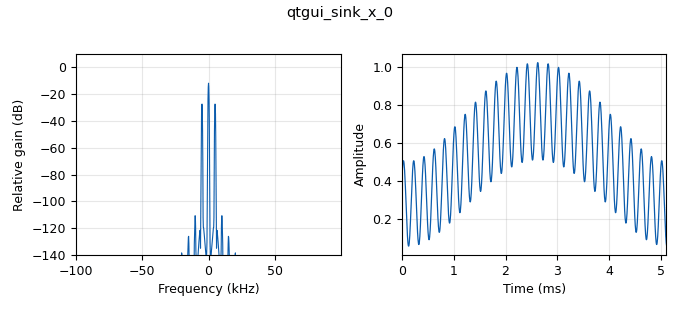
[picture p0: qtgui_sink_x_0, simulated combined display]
options:
  parameters:
    generate_options: qt_gui
    id: ECSE351ProblemSet
    output_language: python
    title: Thresholding Demonstration
  states: {}

blocks:
- name: AM_amp
  id: variable
  parameters:
    value: '1'
  states: {}
- name: f_carrier
  id: variable_qtgui_range
  parameters:
    start: '5000'
    step: '.1'
    stop: '15000'
    value: '10000'
  states: {}
- name: f_mod
  id: variable_qtgui_range
  parameters:
    start: '2500'
    step: '250'
    stop: '10000'
    value: '5000'
  states: {}
- name: mod_index
  id: variable_qtgui_range
  parameters:
    start: '0'
    step: '.1'
    stop: '1'
    value: '.5'
  states: {}
- name: relative_scale
  id: variable_qtgui_range
  parameters:
    start: '1'
    step: '10000'
    stop: '100000'
    value: '1'
    widget: eng_slider
  states: {}
- name: samp_rate
  id: variable
  parameters:
    value: '200000'
  states: {}
- name: analog_am_demod_cf_0
  id: analog_am_demod_cf
  parameters:
    audio_decim: '1'
    audio_pass: '5000'
    audio_stop: '5500'
    chan_rate: samp_rate
  states: {}
- name: analog_const_source_x_0
  id: analog_const_source_x
  parameters:
    const: mod_index
    type: complex
  states: {}
- name: analog_const_source_x_0_0
  id: analog_const_source_x
  parameters:
    const: mod_index
    type: complex
  states: {}
- name: analog_const_source_x_1
  id: analog_const_source_x
  parameters:
    const: '1.0'
    type: complex
  states: {}
- name: analog_const_source_x_1_0
  id: analog_const_source_x
  parameters:
    const: '1.0'
    type: complex
  states: {}
- name: analog_const_source_x_3_0
  id: analog_const_source_x
  parameters:
    const: relative_scale
    type: complex
  states: {}
- name: analog_sig_source_x_0
  id: analog_sig_source_x
  parameters:
    amp: '1'
    freq: f_mod
    offset: '0'
    phase: '0'
    samp_rate: samp_rate
    type: complex
    waveform: analog.GR_COS_WAVE
  states: {}
- name: analog_sig_source_x_0_0
  id: analog_sig_source_x
  parameters:
    amp: '1'
    freq: '200'
    offset: '0'
    phase: '0'
    samp_rate: samp_rate
    type: complex
    waveform: analog.GR_COS_WAVE
  states: {}
- name: analog_sig_source_x_1
  id: analog_sig_source_x
  parameters:
    amp: '1'
    freq: f_carrier
    offset: '0'
    phase: '0'
    samp_rate: samp_rate
    type: complex
    waveform: analog.GR_COS_WAVE
  states: {}
- name: analog_sig_source_x_1_0
  id: analog_sig_source_x
  parameters:
    amp: '1'
    freq: f_carrier
    offset: '0'
    phase: '0'
    samp_rate: samp_rate
    type: complex
    waveform: analog.GR_COS_WAVE
  states: {}
- name: blocks_add_xx_0
  id: blocks_add_xx
  parameters:
    type: complex
  states: {}
- name: blocks_add_xx_0_0
  id: blocks_add_xx
  parameters:
    type: complex
  states: {}
- name: blocks_add_xx_1
  id: blocks_add_xx
  parameters:
    type: complex
  states: {}
- name: blocks_divide_xx_0
  id: blocks_divide_xx
  parameters:
    type: complex
  states: {}
- name: blocks_multiply_xx_0
  id: blocks_multiply_xx
  parameters:
    type: complex
  states: {}
- name: blocks_multiply_xx_0_0
  id: blocks_multiply_xx
  parameters:
    type: complex
  states: {}
- name: blocks_multiply_xx_1
  id: blocks_multiply_xx
  parameters:
    type: complex
  states: {}
- name: blocks_multiply_xx_1_0
  id: blocks_multiply_xx
  parameters:
    type: complex
  states: {}
- name: blocks_throttle2_0
  id: blocks_throttle2
  parameters:
    samples_per_second: samp_rate
    type: complex
  states: {}
- name: blocks_throttle2_0_0
  id: blocks_throttle2
  parameters:
    samples_per_second: samp_rate
    type: complex
  states: {}
- name: qtgui_sink_x_0
  id: qtgui_sink_x
  parameters:
    bw: samp_rate
    fc: '0'
    fftsize: '1024'
    type: float
  states: {}

connections:
- [analog_am_demod_cf_0, '0', qtgui_sink_x_0, '0']
- [analog_const_source_x_0, '0', blocks_multiply_xx_1, '1']
- [analog_const_source_x_0_0, '0', blocks_multiply_xx_1_0, '1']
- [analog_const_source_x_1, '0', blocks_add_xx_0, '1']
- [analog_const_source_x_1_0, '0', blocks_add_xx_0_0, '1']
- [analog_const_source_x_3_0, '0', blocks_divide_xx_0, '1']
- [analog_sig_source_x_0, '0', blocks_multiply_xx_1, '0']
- [analog_sig_source_x_0_0, '0', blocks_multiply_xx_1_0, '0']
- [analog_sig_source_x_1, '0', blocks_multiply_xx_0, '1']
- [analog_sig_source_x_1_0, '0', blocks_multiply_xx_0_0, '1']
- [blocks_add_xx_0, '0', blocks_multiply_xx_0, '0']
- [blocks_add_xx_0_0, '0', blocks_multiply_xx_0_0, '0']
- [blocks_add_xx_1, '0', analog_am_demod_cf_0, '0']
- [blocks_divide_xx_0, '0', blocks_add_xx_1, '1']
- [blocks_multiply_xx_0, '0', blocks_throttle2_0, '0']
- [blocks_multiply_xx_0_0, '0', blocks_throttle2_0_0, '0']
- [blocks_multiply_xx_1, '0', blocks_add_xx_0, '0']
- [blocks_multiply_xx_1_0, '0', blocks_add_xx_0_0, '0']
- [blocks_throttle2_0, '0', blocks_add_xx_1, '0']
- [blocks_throttle2_0_0, '0', blocks_divide_xx_0, '0']

metadata:
  file_format: 1
  grc_version: 3.10.12.0
